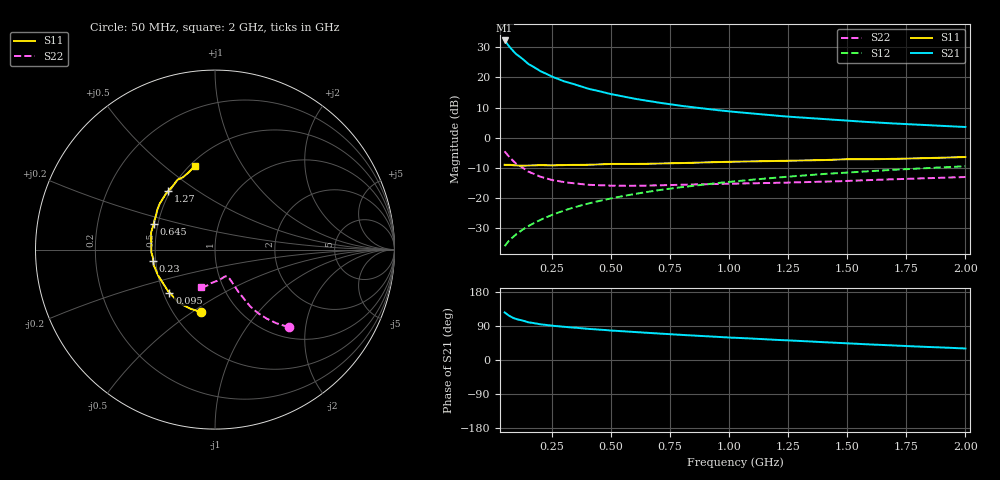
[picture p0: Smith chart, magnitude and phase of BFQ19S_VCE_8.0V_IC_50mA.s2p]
! Infineon Technologies  Discrete & RF Semiconductors
! BFQ19S
! VCE =  8.0 V,  IC =  50 mA
! Common Emitter S-Parameters:  Jan 2016
# GHz  S  MA  R  50
!  f  S11  S21  S12  S22
! GHz  MAG  ANG  MAG  ANG  MAG  ANG  MAG  ANG
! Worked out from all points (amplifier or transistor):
!   391 points, 50 MHz to 2 GHz, reference 50 ohm
!   highest |S21| = 32.2 dB at 50 MHz (marker M1)
!   |S21| within 3 dB of that: start of sweep to 80.71 MHz
!   unconditionally stable (mu >= 1): 285.3 MHz to 1.491 GHz; 1.531 GHz to 1.639 GHz
!   at 375 MHz: K = 1.02, MAG = 18.9 dB, |S12| = -22.4 dB
!   at 1.025 GHz: K = 1.03, MAG = 10.5 dB, |S12| = -14.4 dB
!   at 2 GHz: K = 0.96, MSG = 6.5 dB, |S12| = -9.4 dB
!   S11 on the Smith chart (normalised r, x): 50 MHz: 0.68, -0.54; 95 MHz: 0.54, -0.29; 230 MHz: 0.48, -0.07; 645 MHz: 0.47, +0.15; 1.27 GHz: 0.49, +0.39; 2 GHz: 0.53, +0.64
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0.05  0.3569 -102.5  40.93 125.6  0.016 65.9  0.5956 -46.5
0.06  0.3568 -112.5  36.29 120.5  0.0179 66.2  0.5321 -50.3
0.07  0.357 -121.6  32.4 116.4  0.0201 66.4  0.4797 -53.2
0.08  0.3536 -128.6  29.18 112.9  0.0217 66.3  0.4363 -55.4
0.09  0.3494 -134.1  26.45 110.1  0.0235 66.6  0.3999 -57.1
0.095  0.3486 -136.7  25.28 109.0  0.0244 66.9  0.3844 -57.7
0.1  0.3486 -139.4  24.12 107.7  0.0253 67.2  0.3689 -58.3
0.15  0.3481 -155.6  16.74 99.5  0.0343 70.2  0.2752 -60.9
0.2  0.3524 -165.8  12.78 94.3  0.0433 71.7  0.2273 -61.9
0.23  0.3496 -169.7  11.29 92.2  0.0489 72.4  0.2108 -62.3
0.25  0.3487 -172.4  10.31 90.5  0.0526 72.8  0.1998 -62.6
0.3  0.3552 -177.8  8.651 87.4  0.062 73.0  0.1838 -63.2
0.375  0.3555 175.5  7.065 83.8  0.076 72.8  0.1708 -64.5
0.4  0.3567 173.3  6.545 82.2  0.0807 72.7  0.1665 -65.0
0.5  0.3687 165.2  5.287 77.8  0.0988 71.9  0.1611 -67.6
0.645  0.3704 157.6  4.156 72.1  0.1251 69.9  0.1612 -72.3
0.7  0.3737 154.8  3.828 69.9  0.135 69.3  0.1629 -74.3
1.03  0.4021 138.9  2.668 58.5  0.191 64.1  0.1742 -85.7
1.27  0.4173 128.5  2.211 51.1  0.23 60.2  0.1817 -92.7
1.35  0.4229 124.9  2.101 48.7  0.243 58.9  0.1846 -94.8
1.675  0.4456 111.9  1.744 39.0  0.2917 53.4  0.2042 -102.1
2  0.4798 103.7  1.509 30.4  0.3372 48.3  0.2237 -110.5
